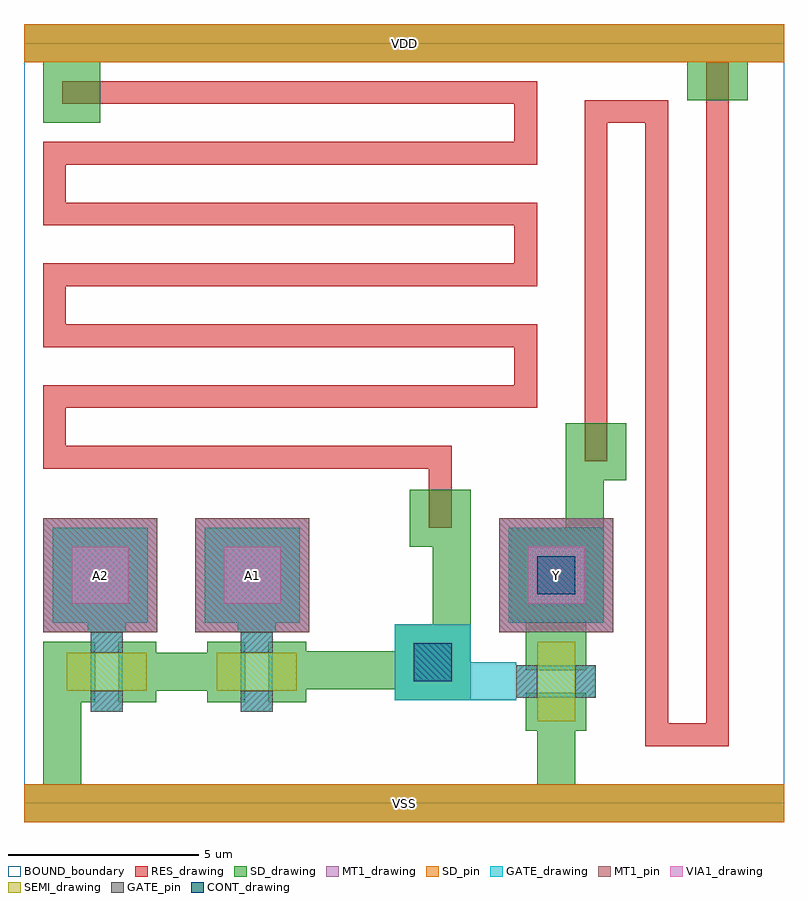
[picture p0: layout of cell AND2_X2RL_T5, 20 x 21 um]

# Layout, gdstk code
from math import pi, radians
import gdstk
lib = gdstk.Library(unit=1e-6, precision=1e-09)
def R(c, l, rs):  # rectangles x0, y0, x1, y1
    for r in rs: c.add(gdstk.rectangle(r[:2], r[2:], *l))
def P(c, l, *ps):  # polygons
    for p in ps: c.add(gdstk.Polygon(p, *l))
RES_drawing = (1, 0)
SEMI_drawing = (3, 0)
SD_drawing = (10, 0)
SD_pin = (10, 3)
GATE_drawing = (11, 0)
GATE_pin = (11, 3)
MT1_drawing = (20, 0)
MT1_pin = (20, 3)
CONT_drawing = (30, 0)
VIA1_drawing = (41, 0)
BOUND_boundary = (150, 5)

nch_cdns_772544883640 = lib.new_cell('nch_CDNS_772544883640')
R(nch_cdns_772544883640, SEMI_drawing, [(-1.05,-0.5,1.05,0.5)])
R(nch_cdns_772544883640, SD_drawing, [(-1.3,-0.8,-0.3,0.8), (0.3,-0.8,1.3,0.8)])
R(nch_cdns_772544883640, GATE_drawing, [(-0.425,-1.05,0.425,1.05)])
R(nch_cdns_772544883640, GATE_pin, [(-0.425,-1.05,0.425,-0.5), (-0.425,0.5,0.425,1.05)])

res_cdns_772544883641 = lib.new_cell('res_CDNS_772544883641')
R(res_cdns_772544883641, SD_drawing, [(14.2,8,15.8,9.5), (17.4,18,19,19.5)])
res_cdns_772544883641.add(gdstk.FlexPath([(18.2,18),(18.2,1.3),(16.6,1.3),(16.6,17.7),(15,17.7),(15,9.5)], 0.6, ends=(1, 1), simple_path=True, layer=1, datatype=0))  # RES_drawing

res_cdns_772544883642 = lib.new_cell('res_CDNS_772544883642')
R(res_cdns_772544883642, SD_drawing, [(10.15,6.75,11.75,8.25), (0.5,17.9,2,19.5)])
res_cdns_772544883642.add(gdstk.FlexPath([(2,18.7),(13.2,18.7),(13.2,17.1),(0.8,17.1),(0.8,15.5),(13.2,15.5),(13.2,13.9),(0.8,13.9),(0.8,12.3),(13.2,12.3),(13.2,10.7),(0.8,10.7),(0.8,9.1),(10.95,9.1),(10.95,8.25)], 0.6, ends=(1, 1), simple_path=True, layer=1, datatype=0))  # RES_drawing

sd_gate_cdns_77254488364 = lib.new_cell('SD_GATE_CDNS_772544883640')
R(sd_gate_cdns_77254488364, SD_drawing, [(-1,-1,1,1)])
R(sd_gate_cdns_77254488364, GATE_drawing, [(-1,-1,1,1)])
R(sd_gate_cdns_77254488364, CONT_drawing, [(-0.5,-0.5,0.5,0.5)])

gate_mt1_cdns_7725448836 = lib.new_cell('GATE_MT1_CDNS_772544883641')
R(gate_mt1_cdns_7725448836, GATE_drawing, [(-1.25,-1.25,1.25,1.25)])
R(gate_mt1_cdns_7725448836, MT1_drawing, [(-1.5,-1.5,1.5,1.5)])
R(gate_mt1_cdns_7725448836, VIA1_drawing, [(-0.75,-0.75,0.75,0.75)])

c_sd_gate_cdns_77254488364 = lib.new_cell('SD_GATE_CDNS_772544883642')
R(c_sd_gate_cdns_77254488364, SD_drawing, [(-1.25,-1.25,1.25,1.25)])
R(c_sd_gate_cdns_77254488364, GATE_drawing, [(-1.25,-1.25,1.25,1.25)])
R(c_sd_gate_cdns_77254488364, CONT_drawing, [(-0.5,-0.5,0.5,0.5)])

and2_x2rl_t5 = lib.new_cell('AND2_X2RL_T5')
R(and2_x2rl_t5, SD_drawing, [(0,-0.5,20,0.5), (0.5,0.5,1.5,4.25), (13.5,0.5,14.5,1.95), (3.475,2.95,4.825,3.95), (7.425,3,9.75,4), (13.2,4.5,14.8,4.75), (10.75,4.7,11.75,6.75), (14.25,7.25,15.25,8.5), (0,19.5,20,20.5)])
R(and2_x2rl_t5, SD_pin, [(0,-0.5,20,0.5), (0,19.5,20,20.5)])
P(and2_x2rl_t5, GATE_drawing, [(6.625,4.75),(5.625,4.75),(5.625,4.5),(5.75,4.5),(5.75,4.45),(6.5,4.45),(6.5,4.5),(6.625,4.5)],
  [(13,3.575),(12.95,3.575),(12.95,3.7),(11.75,3.7),(11.75,2.7),(12.95,2.7),(12.95,2.825),(13,2.825)],
  [(2.675,4.75),(1.675,4.75),(1.675,4.5),(1.8,4.5),(1.8,4.45),(2.55,4.45),(2.55,4.5),(2.675,4.5)])
R(and2_x2rl_t5, MT1_drawing, [(0.5,4.5,3.5,7.5), (4.5,4.5,7.5,7.5), (12.5,4.5,15.5,7.5)])
R(and2_x2rl_t5, MT1_pin, [(0.5,4.5,3.5,7.5), (4.5,4.5,7.5,7.5), (12.5,4.5,15.5,7.5)])
R(and2_x2rl_t5, BOUND_boundary, [(0,0,20,20)])
and2_x2rl_t5.add(gdstk.Reference(nch_cdns_772544883640, (14,3.2), rotation=pi/2))
and2_x2rl_t5.add(gdstk.Reference(nch_cdns_772544883640, (6.125,3.45)))
and2_x2rl_t5.add(gdstk.Reference(nch_cdns_772544883640, (2.175,3.45)))
and2_x2rl_t5.add(gdstk.Reference(res_cdns_772544883641, (0.05,0.5)))
and2_x2rl_t5.add(gdstk.Reference(res_cdns_772544883642, (0,0)))
and2_x2rl_t5.add(gdstk.Reference(sd_gate_cdns_77254488364, (10.75,3.7)))
and2_x2rl_t5.add(gdstk.Reference(gate_mt1_cdns_7725448836, (14,6)))
and2_x2rl_t5.add(gdstk.Reference(gate_mt1_cdns_7725448836, (6,6)))
and2_x2rl_t5.add(gdstk.Reference(gate_mt1_cdns_7725448836, (2,6)))
and2_x2rl_t5.add(gdstk.Reference(c_sd_gate_cdns_77254488364, (14,6)))
and2_x2rl_t5.add(gdstk.Label('VDD', (10,20), layer=10, texttype=3))
and2_x2rl_t5.add(gdstk.Label('VSS', (10,0), layer=10, texttype=3))
and2_x2rl_t5.add(gdstk.Label('Y', (14,6), layer=20, texttype=3))
and2_x2rl_t5.add(gdstk.Label('A2', (2,6), layer=20, texttype=3))
and2_x2rl_t5.add(gdstk.Label('A1', (6,6), layer=20, texttype=3))

lib.write_gds('AND2_X2RL_T5.gds')
